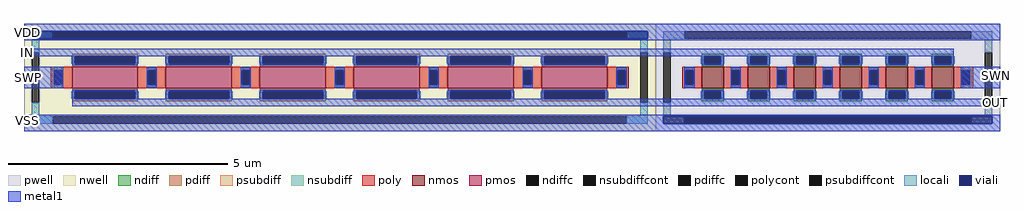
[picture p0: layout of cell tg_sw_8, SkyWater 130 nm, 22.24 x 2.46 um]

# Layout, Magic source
magic
tech sky130A
magscale 1 2
<< viali >>
rect -17 369 2789 403
rect 2861 -17 4359 17
<< metal1 >>
rect -53 403 4395 439
rect -53 369 -17 403
rect 2789 369 4395 403
rect -53 363 4395 369
rect -53 289 4185 323
rect -53 143 125 243
rect 4217 143 4395 243
rect 166 63 4395 97
rect -53 17 4395 23
rect -53 -17 2861 17
rect 4359 -17 4395 17
rect -53 -53 4395 -17
use sky130_fd_pr__pfet_01v8_SEQFW4  XM1
transform 0 1 1386 -1 0 193
box -246 -1439 246 1439
use sky130_fd_pr__nfet_01v8_A9PWNX  XM2
transform 0 1 3610 -1 0 193
box -246 -785 246 785
<< labels >>
flabel metal1 -41 393 -32 401 0 FreeSans 400 0 0 0 VDD
port 0 nsew
flabel metal1 -40 -9 -31 -1 0 FreeSans 400 0 0 0 VSS
port 1 nsew
flabel metal1 -41 302 -32 310 0 FreeSans 400 0 0 0 IN
port 2 nsew
flabel metal1 -38 189 -29 197 0 FreeSans 400 0 0 0 SWP
port 3 nsew
flabel metal1 4374 196 4383 204 0 FreeSans 400 0 0 0 SWN
port 4 nsew
flabel metal1 4371 76 4380 84 0 FreeSans 400 0 0 0 OUT
port 6 nsew
<< end >>

# cell sky130_fd_pr__pfet_01v8_SEQFW4: kit device sky130_fd_pr__pfet_01v8, w 1.5 l 0.5 m 6 nf 1 diffcov 100 polycov 100 guard 1 glc 1 grc 1 gtc 1 gbc 1 tbcov 100 rlcov 100 topc 0 botc 0 poverlap 1 doverlap 1 lmin 0.15 wmin 0.42 compatible {sky130_fd_pr__pfet_01v8 sky130_fd_pr__pfet_01v8_lvt sky130_fd_pr__pfet_01v8_hvt sky130_fd_pr__pfet_g5v0d10v5} full_metal 1 viasrc 100 viadrn 100 viagate 100 viagb 0 viagr 0 viagl 0 viagt 0

# cell sky130_fd_pr__nfet_01v8_A9PWNX: kit device sky130_fd_pr__nfet_01v8, w 0.5 l 0.5 m 6 nf 1 diffcov 100 polycov 100 guard 1 glc 1 grc 1 gtc 1 gbc 1 tbcov 100 rlcov 100 topc 0 botc 0 poverlap 1 doverlap 1 lmin 0.15 wmin 0.42 compatible {sky130_fd_pr__nfet_01v8 sky130_fd_pr__nfet_01v8_lvt sky130_fd_bs_flash__special_sonosfet_star sky130_fd_pr__nfet_g5v0d10v5 sky130_fd_pr__nfet_05v0_nvt sky130_fd_pr__nfet_03v3_nvt} full_metal 1 viasrc 100 viadrn 100 viagate 100 viagb 0 viagr 0 viagl 0 viagt 0
